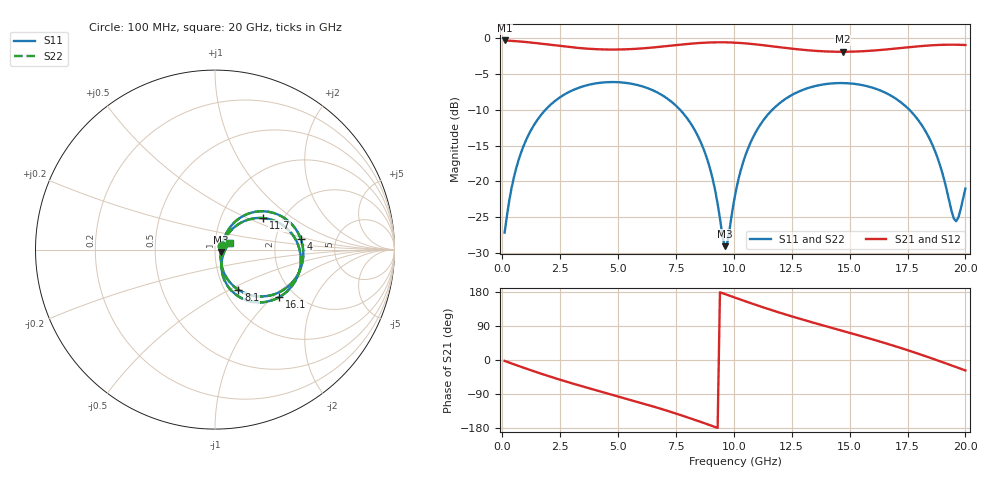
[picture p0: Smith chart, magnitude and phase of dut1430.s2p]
! Touchstone file exported from HFSS 2026.1.0
!  File:  C:/ffzhzh/LocalFiles/Ansys_Project_Files/temp_train_TSV_RDL_1430_1783355665_46376.aedt
!  Generated:  12:46:23 AM Jul  7, 2026
!  Design:  TSV_RDL
!  Project:  temp_train_TSV_RDL_1430_1783355665_46376
! Variables:
!  h_bsmrdl = 2.69um
!  h_ox = 20um
!  h_rdl = 5um
!  h_sub = 63.24um
!  h_tmrdl = 4.17um
!  h_tsv = 63.24um
!  h_via = 3um
!  l_bsmrdl = 810.17um
!  l_sub = 6714.1um
!  l_tmrdl = 943.23um
!  m_sub = 200um
!  pitch = 38.55um
!  r_tsv = 7.03um
!  s_tmrdl = 10um
!  w_bsmrdl = 12.97um
!  w_sub = 500um
!  w_tmrdl = 23.92um
!  x_tsv_center1 = 955.19um
!  x_tsv_center2 = 1778.33um
!  x_tsv_center3 = 2745.48um
!  x_tsv_center4 = 3568.62um
!  x_tsv_center5 = 4535.77um
!  x_tsv_center6 = 5358.91um
# GHz S MA R 50.000000
! Terminal data exported
! Port[1] = TM_RDL1_1_T1
! Port[2] = TM_RDL5_1_T1
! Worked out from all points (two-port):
!   200 points, 100 MHz to 20 GHz, reference 50 ohm
!   highest |S21| = -0.34 dB at 100 MHz (marker M1); lowest = -1.9 dB at 14.7 GHz (marker M2)
!   |S21| within 3 dB of the highest: start of sweep to end of sweep
!   lowest |S11| = -29.0 dB at 9.6 GHz (marker M3), VSWR 1.07, Z = 53.4 - j1.33 ohm
!   |S11| at or under -10 dB: start of sweep to 1.871 GHz; 7.672 GHz to 11.67 GHz (3.994 GHz wide, 41.3 % of centre); 17.57 GHz to end of sweep
!   |S22| runs from -29.1 to -6.1 dB; largest |S21 - S12| = 1.6e-14
!   S11 on the Smith chart (normalised r, x): 100 MHz: 1.08, +0.04; 4 GHz: 2.78, +0.44; 8.1 GHz: 1.16, -0.55; 11.7 GHz: 1.58, +0.62; 16.1 GHz: 1.66, -1.09; 20 GHz: 1.17, +0.09
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0.1  0.04393 26.6  0.9613 -2.4  0.9613 -2.4  0.04393 26.6
! Gamma 0 0 0 0
! Port Impedance 50 0 50 0
0.5  0.1066 54.9  0.9523 -11.3  0.9523 -11.3  0.1066 54.9
1.2  0.2215 52.1  0.931 -26.3  0.931 -26.3  0.2215 52.1
3.5  0.4607 15.3  0.8466 -70.3  0.8466 -70.3  0.4607 15.3
4  0.4812 7.3  0.8364 -79.0  0.8364 -79.0  0.4812 7.2
5.3  0.4872 -13.4  0.8333 -101.1  0.8333 -101.1  0.4873 -13.5
6.8  0.4083 -38.0  0.8678 -127.8  0.8678 -127.8  0.4083 -38.1
8.1  0.2589 -59.8  0.9116 -153.5  0.9116 -153.5  0.259 -59.8
9  0.1181 -68.8  0.9312 -172.6  0.9312 -172.6  0.1181 -69.0
9.6  0.03532 -20.6  0.9331 174.3  0.9331 174.3  0.0352 -20.9
9.7  0.036 6.1  0.9324 172.1  0.9324 172.1  0.03585 5.9
10.1  0.08752 47.9  0.9268 163.4  0.9268 163.4  0.0874 47.9
10.7  0.1832 48.0  0.9112 150.6  0.9112 150.6  0.1831 48.0
11.7  0.3203 33.3  0.8736 130.3  0.8736 130.3  0.3202 33.2
13.4  0.4574 5.6  0.8163 99.1  0.8163 99.1  0.4574 5.5
14.7  0.4849 -14.7  0.8015 76.8  0.8015 76.8  0.4848 -14.9
16.1  0.4442 -36.7  0.8191 52.4  0.8191 52.4  0.4442 -36.9
16.7  0.4033 -46.3  0.8352 41.5  0.8352 41.5  0.4032 -46.5
18.4  0.206 -71.2  0.8862 7.5  0.8862 7.5  0.2059 -71.6
19.5  0.05502 -35.7  0.8984 -16.5  0.8984 -16.5  0.05421 -36.2
19.7  0.05613 -3.1  0.8972 -20.9  0.8972 -20.9  0.05525 -3.1
20  0.08899 24.1  0.8935 -27.5  0.8935 -27.5  0.08836 24.3
